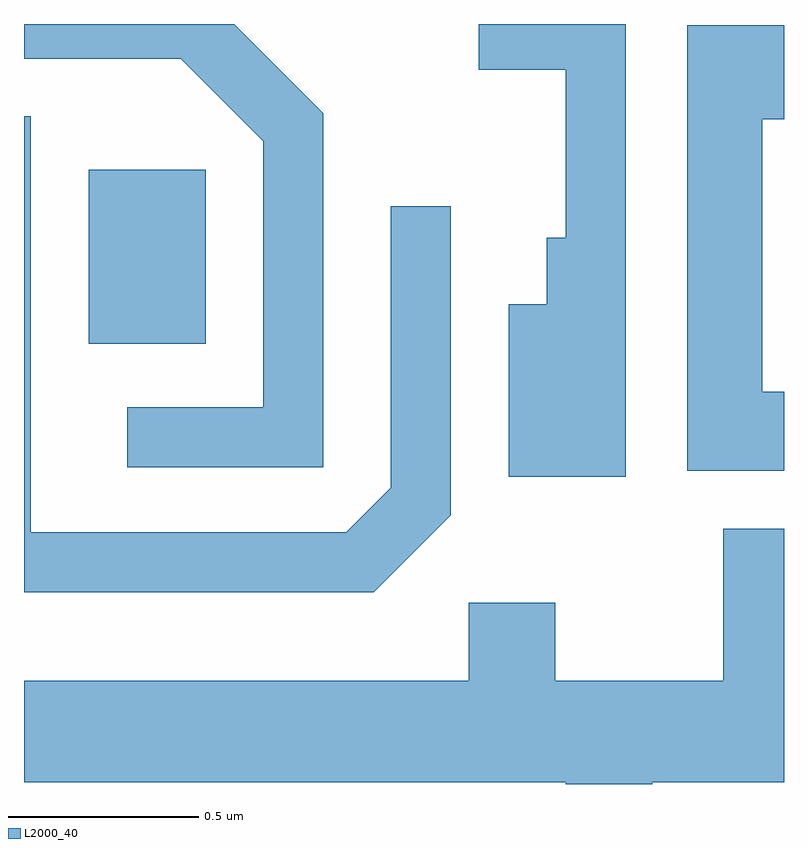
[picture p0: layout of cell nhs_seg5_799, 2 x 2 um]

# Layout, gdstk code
import gdstk
lib = gdstk.Library(unit=1e-6, precision=1e-09)
def R(c, l, rs):  # rectangles x0, y0, x1, y1
    for r in rs: c.add(gdstk.rectangle(r[:2], r[2:], *l))
def P(c, l, *ps):  # polygons
    for p in ps: c.add(gdstk.Polygon(p, *l))
L2000_40 = (2000, 40)

nhs_seg5_799 = lib.new_cell('nhs_seg5_799')
R(nhs_seg5_799, L2000_40, [(190.781,1511.231,191.089,1511.689)])
P(nhs_seg5_799, L2000_40, [(191.399,1511.837),(191.164,1512.072),(190.611,1512.072),(190.611,1511.981),(191.024,1511.981),(191.241,1511.764),(191.241,1511.064),(190.883,1511.064),(190.883,1510.906),(191.399,1510.906)],
  [(192.194,1512.072),(191.808,1512.072),(191.808,1511.951),(192.036,1511.951),(192.036,1511.509),(191.986,1511.509),(191.986,1511.334),(191.886,1511.334),(191.886,1510.881),(192.194,1510.881)],
  [(192.611,1511.104),(192.554,1511.104),(192.554,1511.821),(192.611,1511.821),(192.611,1512.069),(192.356,1512.069),(192.356,1510.896),(192.611,1510.896)],
  [(191.734,1510.779),(191.734,1511.593),(191.576,1511.593),(191.576,1510.852),(191.459,1510.734),(190.629,1510.734),(190.629,1511.829),(190.611,1511.829),(190.611,1510.576),(191.532,1510.576)],
  [(192.264,1510.076),(192.611,1510.076),(192.611,1510.744),(192.451,1510.744),(192.451,1510.344),(192.009,1510.344),(192.009,1510.549),(191.781,1510.549),(191.781,1510.344),(190.611,1510.344),(190.611,1510.076),(192.036,1510.076),(192.036,1510.072),(192.264,1510.072)])

lib.write_gds('nhs_seg5_799.gds')
